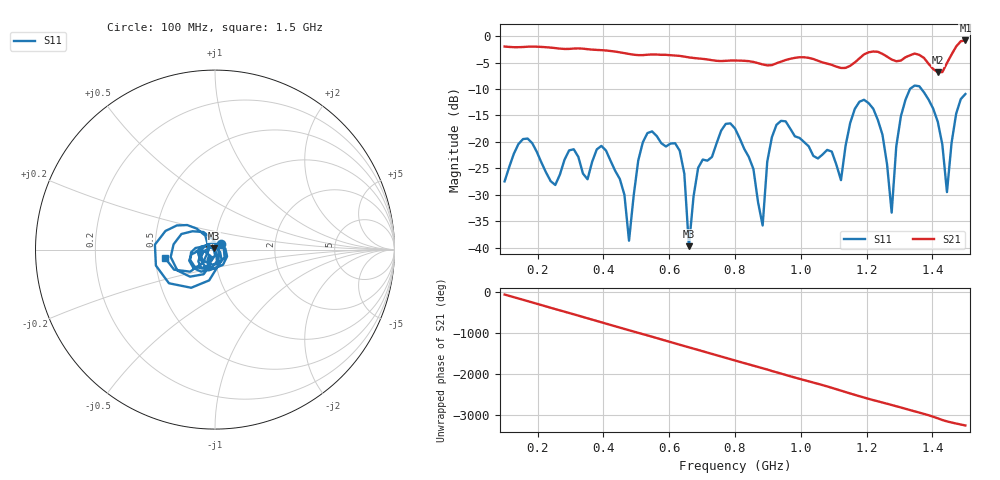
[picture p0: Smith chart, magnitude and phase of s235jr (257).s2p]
! NanoVNA-App
! Date: 2025-09-25 15:06:10
! Start: 100MHz Stop: 1,5GHz Points: 101
! S-Parameter data: F S11 S21 S12 S22
# Hz S RI R 50
!  Frequency  S11_Real  S11_Imag  S21_Real  S21_Imag  S12_Real  S12_Imag  S22_Real  S22_Imag
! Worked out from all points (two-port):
!   101 points, 100 MHz to 1.5 GHz, reference 50 ohm
!   highest |S21| = -0.81 dB at 1.5 GHz (marker M1); lowest = -6.8 dB at 1.416 GHz (marker M2)
!   |S21| within 3 dB of the highest: start of sweep to 640.3 MHz; 1.185 GHz to 1.26 GHz (75.07 MHz wide, 6.14 % of centre) (the widest 2 of 4)
!   lowest |S11| = -39.7 dB at 660 MHz (marker M3), VSWR 1.02, Z = 49.2 + j0.615 ohm
!   |S11| at or under -10 dB: start of sweep to 1.332 GHz; 1.366 GHz to end of sweep
!   S12 and S22 are empty: the file has one direction only
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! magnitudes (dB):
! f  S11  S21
! 100 MHz  -27.5  -2.0
! 170 MHz  -19.4  -2.0
! 338 MHz  -26.0  -2.4
! 408 MHz  -21.6  -2.7
! 478 MHz  -38.7  -3.4
! 520 MHz  -20.1  -3.6
! 576 MHz  -20.2  -3.5
! 632 MHz  -21.7  -3.7
! 660 MHz  -39.7  -4.0
! 688 MHz  -24.9  -4.2
! 800 MHz  -17.5  -4.6
! 884 MHz  -35.8  -5.4
! 926 MHz  -16.8  -5.1
! 1.038 GHz  -22.6  -4.3
! 1.122 GHz  -27.2  -6.0
! 1.192 GHz  -12.0  -3.5
! 1.248 GHz  -18.6  -3.3
! 1.276 GHz  -33.4  -4.4
! 1.332 GHz  -10.0  -3.6
! 1.416 GHz  -16.2  -6.8
! 1.444 GHz  -29.5  -5.1
! 1.5 GHz  -10.9  -0.8
